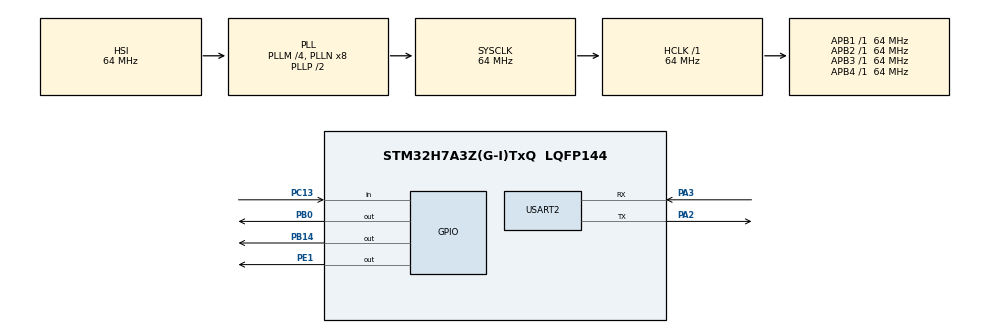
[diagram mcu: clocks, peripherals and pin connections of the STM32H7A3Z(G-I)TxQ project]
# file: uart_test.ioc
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CORTEX_M7.default_mode_Activation=1
Mcu.Family=STM32H7
Mcu.Name=STM32H7A3Z(G-I)TxQ
Mcu.Package=LQFP144
NUCLEO-H7A3ZI-Q.BUTTON=1
NUCLEO-H7A3ZI-Q.Bsp_Common_DEMO=true
NUCLEO-H7A3ZI-Q.LD1=true
NUCLEO-H7A3ZI-Q.LD2=true
NUCLEO-H7A3ZI-Q.LD3=true
NUCLEO-H7A3ZI-Q.VCP=true
NVIC.EXTI15_10_IRQn=true\:0\:0\:false\:false\:true\:false\:true\:true
NVIC.PriorityGroup=NVIC_PRIORITYGROUP_4
PA2.Mode=Asynchronous
PA2.Signal=USART2_TX
PA3.Mode=Asynchronous
PA3.Signal=USART2_RX
PB0.Signal=GPIO_Output
PB14.Signal=GPIO_Output
PC13.Signal=GPIO_Input
PC14-OSC32_IN.GPIO_Label=OSC32_IN
PC14-OSC32_IN.Signal=RCC_OSC32_IN
PC15-OSC32_OUT.GPIO_Label=OSC32_OUT
PC15-OSC32_OUT.Signal=RCC_OSC32_OUT
PD8.Signal=USART3_TX
PD9.Signal=USART3_RX
PE1.Signal=GPIO_Output
PH0-OSC_IN.GPIO_Label=PH0-MCU
PH0-OSC_IN.Signal=RCC_OSC_IN
PH1-OSC_OUT.GPIO_Label=PH1-MCU
PH1-OSC_OUT.Signal=RCC_OSC_OUT
ProjectManager.HeapSize=0x200
ProjectManager.StackSize=0x400
ProjectManager.TargetToolchain=STM32CubeIDE
RCC.ADCFreq_Value=129000000
RCC.APB1Freq_Value=64000000
RCC.APB2Freq_Value=64000000
RCC.APB3Freq_Value=64000000
RCC.APB4Freq_Value=64000000
RCC.CortexFreq_Value=64000000
RCC.DIVM1=4
RCC.DIVM3=1
RCC.DIVN1=8
RCC.DIVN3=24
RCC.DIVQ1=4
RCC.HCLKFreq_Value=64000000
RCC.HSE_VALUE=8000000
RCC.PLLFRACN=0
RCC.PWR_Regulator_Voltage_Scale=PWR_REGULATOR_VOLTAGE_SCALE0
RCC.SYSCLKFreq_VALUE=64000000
RCC.SYSCLKSource=RCC_SYSCLKSOURCE_PLLCLK
RCC.SupplySource=PWR_DIRECT_SMPS_SUPPLY
RCC.USBCLockSelection=RCC_USBCLKSOURCE_HSI48
RCC.USBFreq_Value=48000000
USART2.VirtualMode-Asynchronous=VM_ASYNC
VP_MEMORYMAP_VS_MEMORYMAP.Mode=CurAppReg
VP_NUCLEO-H7A3ZI-Q_VS_BSP_COMMON.Mode=COMMON
board=NUCLEO-H7A3ZI-Q

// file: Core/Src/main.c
/* USER CODE BEGIN Header */
/**
  ******************************************************************************
  * @file           : main.c
  * @brief          : Main program body
  ******************************************************************************
  * @attention
  *
  * Copyright (c) 2026 STMicroelectronics.
  * All rights reserved.
  *
  * This software is licensed under terms that can be found in the LICENSE file
  * in the root directory of this software component.
  * If no LICENSE file comes with this software, it is provided AS-IS.
  *
  ******************************************************************************
  */
/* USER CODE END Header */
#include "main.h"

/* USER CODE BEGIN Includes */
#include <stdio.h>
#include <string.h>
/* USER CODE END Includes */

COM_InitTypeDef BspCOMInit;
__IO uint32_t BspButtonState = BUTTON_RELEASED;

UART_HandleTypeDef huart2;

/* USER CODE BEGIN PV */
uint32_t counter = 0;
char uart_buffer[50];
char rx_buffer[100];
uint8_t rx_byte;
uint16_t rx_index = 0;
uint32_t last_send_time = 0;
/* USER CODE END PV */

void SystemClock_Config(void);
static void MPU_Config(void);
static void MX_GPIO_Init(void);
static void MX_USART2_UART_Init(void);

int main(void)
{

  /* MPU Configuration--------------------------------------------------------*/
  MPU_Config();

  /* MCU Configuration--------------------------------------------------------*/

  /* Reset of all peripherals, Initializes the Flash interface and the Systick. */
  HAL_Init();

  /* Configure the system clock */
  SystemClock_Config();

  /* Initialize all configured peripherals */
  MX_GPIO_Init();
  MX_USART2_UART_Init();

  /* Initialize leds */
  BSP_LED_Init(LED_GREEN);
  BSP_LED_Init(LED_YELLOW);
  BSP_LED_Init(LED_RED);

  /* Initialize USER push-button, will be used to trigger an interrupt each time it's pressed.*/
  BSP_PB_Init(BUTTON_USER, BUTTON_MODE_EXTI);

  /* Initialize COM1 port (115200, 8 bits (7-bit data + 1 stop bit), no parity */
  BspCOMInit.BaudRate   = 115200;
  BspCOMInit.WordLength = COM_WORDLENGTH_8B;
  BspCOMInit.StopBits   = COM_STOPBITS_1;
  BspCOMInit.Parity     = COM_PARITY_NONE;
  BspCOMInit.HwFlowCtl  = COM_HWCONTROL_NONE;
  if (BSP_COM_Init(COM1, &BspCOMInit) != BSP_ERROR_NONE)
  {
    Error_Handler();
  }

  /* USER CODE BEGIN BSP */

  /* -- Sample board code to send message over COM1 port ---- */
  printf("Welcome to STM32 world !\n\r");

  /* -- Sample board code to switch on leds ---- */
  BSP_LED_On(LED_GREEN);
  BSP_LED_On(LED_YELLOW);
  BSP_LED_On(LED_RED);

  /* USER CODE END BSP */

  /* Infinite loop */
  /* USER CODE BEGIN WHILE */
  while (1)
  {
    /* Check for incoming data on UART */
    if (HAL_UART_Receive(&huart2, &rx_byte, 1, 10) == HAL_OK)
    {
      /* Data received - toggle YELLOW LED */
      BSP_LED_Toggle(LED_YELLOW);

      /* Store byte in buffer */
      if (rx_byte == '\n' || rx_index >= 99)
      {
        rx_buffer[rx_index] = '\0';
        printf("[UART RX] %s\r\n", rx_buffer);

        /* Send acknowledgment with complete message */
        char ack_buffer[120];
        sprintf(ack_buffer, "STM32 ACK: %s\r\n", rx_buffer);
        HAL_UART_Transmit(&huart2, (uint8_t*)ack_buffer, strlen(ack_buffer), HAL_MAX_DELAY);

        rx_index = 0;
      }
      else if (rx_byte != '\r')
      {
        rx_buffer[rx_index++] = rx_byte;
      }
    }

    /* Send counter via USART2 every second */
    if (HAL_GetTick() - last_send_time >= 1000)
    {
      sprintf(uart_buffer, "Counter: %lu\r\n", counter);
      HAL_UART_Transmit(&huart2, (uint8_t*)uart_buffer, strlen(uart_buffer), HAL_MAX_DELAY);

      /* Toggle LED to indicate transmission */
      BSP_LED_Toggle(LED_GREEN);

      counter++;
      last_send_time = HAL_GetTick();
    }

    /* -- Sample board code for User push-button in interrupt mode ---- */
    if (BspButtonState == BUTTON_PRESSED)
    {
      /* Update button state */
      BspButtonState = BUTTON_RELEASED;
      /* -- Sample board code to toggle leds ---- */
      BSP_LED_Toggle(LED_GREEN);
      BSP_LED_Toggle(LED_YELLOW);
      BSP_LED_Toggle(LED_RED);

      /* ..... Perform your action ..... */
    }
    /* USER CODE END WHILE */

  }
}

void SystemClock_Config(void)
{
  RCC_OscInitTypeDef RCC_OscInitStruct = {0};
  RCC_ClkInitTypeDef RCC_ClkInitStruct = {0};

  /*AXI clock gating */
  RCC->CKGAENR = 0xE003FFFF;

  /** Supply configuration update enable
  */
  HAL_PWREx_ConfigSupply(PWR_DIRECT_SMPS_SUPPLY);

  /** Configure the main internal regulator output voltage
  */
  __HAL_PWR_VOLTAGESCALING_CONFIG(PWR_REGULATOR_VOLTAGE_SCALE0);

  while(!__HAL_PWR_GET_FLAG(PWR_FLAG_VOSRDY)) {}

  /** Initializes the RCC Oscillators according to the specified parameters
  * in the RCC_OscInitTypeDef structure.
  */
  RCC_OscInitStruct.OscillatorType = RCC_OSCILLATORTYPE_HSI;
  RCC_OscInitStruct.HSIState = RCC_HSI_DIV1;
  RCC_OscInitStruct.HSICalibrationValue = 64;
  RCC_OscInitStruct.PLL.PLLState = RCC_PLL_ON;
  RCC_OscInitStruct.PLL.PLLSource = RCC_PLLSOURCE_HSI;
  RCC_OscInitStruct.PLL.PLLM = 4;
  RCC_OscInitStruct.PLL.PLLN = 8;
  RCC_OscInitStruct.PLL.PLLP = 2;
  RCC_OscInitStruct.PLL.PLLQ = 4;
  RCC_OscInitStruct.PLL.PLLR = 2;
  RCC_OscInitStruct.PLL.PLLRGE = RCC_PLL1VCIRANGE_3;
  RCC_OscInitStruct.PLL.PLLVCOSEL = RCC_PLL1VCOWIDE;
  RCC_OscInitStruct.PLL.PLLFRACN = 0;
  if (HAL_RCC_OscConfig(&RCC_OscInitStruct) != HAL_OK)
  {
    Error_Handler();
  }

  /** Initializes the CPU, AHB and APB buses clocks
  */
  RCC_ClkInitStruct.ClockType = RCC_CLOCKTYPE_HCLK|RCC_CLOCKTYPE_SYSCLK
                              |RCC_CLOCKTYPE_PCLK1|RCC_CLOCKTYPE_PCLK2
                              |RCC_CLOCKTYPE_D3PCLK1|RCC_CLOCKTYPE_D1PCLK1;
  RCC_ClkInitStruct.SYSCLKSource = RCC_SYSCLKSOURCE_PLLCLK;
  RCC_ClkInitStruct.SYSCLKDivider = RCC_SYSCLK_DIV1;
  RCC_ClkInitStruct.AHBCLKDivider = RCC_HCLK_DIV1;
  RCC_ClkInitStruct.APB3CLKDivider = RCC_APB3_DIV1;
  RCC_ClkInitStruct.APB1CLKDivider = RCC_APB1_DIV1;
  RCC_ClkInitStruct.APB2CLKDivider = RCC_APB2_DIV1;
  RCC_ClkInitStruct.APB4CLKDivider = RCC_APB4_DIV1;

  if (HAL_RCC_ClockConfig(&RCC_ClkInitStruct, FLASH_LATENCY_1) != HAL_OK)
  {
    Error_Handler();
  }
}

static void MX_USART2_UART_Init(void)
{

  huart2.Instance = USART2;
  huart2.Init.BaudRate = 115200;
  huart2.Init.WordLength = UART_WORDLENGTH_8B;
  huart2.Init.StopBits = UART_STOPBITS_1;
  huart2.Init.Parity = UART_PARITY_NONE;
  huart2.Init.Mode = UART_MODE_TX_RX;
  huart2.Init.HwFlowCtl = UART_HWCONTROL_NONE;
  huart2.Init.OverSampling = UART_OVERSAMPLING_16;
  huart2.Init.OneBitSampling = UART_ONE_BIT_SAMPLE_DISABLE;
  huart2.Init.ClockPrescaler = UART_PRESCALER_DIV1;
  huart2.AdvancedInit.AdvFeatureInit = UART_ADVFEATURE_NO_INIT;
  if (HAL_UART_Init(&huart2) != HAL_OK)
  {
    Error_Handler();
  }
  if (HAL_UARTEx_SetTxFifoThreshold(&huart2, UART_TXFIFO_THRESHOLD_1_8) != HAL_OK)
  {
    Error_Handler();
  }
  if (HAL_UARTEx_SetRxFifoThreshold(&huart2, UART_RXFIFO_THRESHOLD_1_8) != HAL_OK)
  {
    Error_Handler();
  }
  if (HAL_UARTEx_DisableFifoMode(&huart2) != HAL_OK)
  {
    Error_Handler();
  }

}

static void MX_GPIO_Init(void)
{

  /* GPIO Ports Clock Enable */
  __HAL_RCC_GPIOC_CLK_ENABLE();
  __HAL_RCC_GPIOH_CLK_ENABLE();
  __HAL_RCC_GPIOA_CLK_ENABLE();

}

 /* MPU Configuration */

void MPU_Config(void)
{
  MPU_Region_InitTypeDef MPU_InitStruct = {0};

  /* Disables the MPU */
  HAL_MPU_Disable();

  /** Initializes and configures the Region and the memory to be protected
  */
  MPU_InitStruct.Enable = MPU_REGION_ENABLE;
  MPU_InitStruct.Number = MPU_REGION_NUMBER0;
  MPU_InitStruct.BaseAddress = 0x0;
  MPU_InitStruct.Size = MPU_REGION_SIZE_4GB;
  MPU_InitStruct.SubRegionDisable = 0x87;
  MPU_InitStruct.TypeExtField = MPU_TEX_LEVEL0;
  MPU_InitStruct.AccessPermission = MPU_REGION_NO_ACCESS;
  MPU_InitStruct.DisableExec = MPU_INSTRUCTION_ACCESS_DISABLE;
  MPU_InitStruct.IsShareable = MPU_ACCESS_SHAREABLE;
  MPU_InitStruct.IsCacheable = MPU_ACCESS_NOT_CACHEABLE;
  MPU_InitStruct.IsBufferable = MPU_ACCESS_NOT_BUFFERABLE;

  HAL_MPU_ConfigRegion(&MPU_InitStruct);
  /* Enables the MPU */
  HAL_MPU_Enable(MPU_PRIVILEGED_DEFAULT);

}

/**
  * @brief BSP Push Button callback
  * @param Button Specifies the pressed button
  * @retval None
  */
void BSP_PB_Callback(Button_TypeDef Button)
{
  if (Button == BUTTON_USER)
  {
    BspButtonState = BUTTON_PRESSED;
  }
}

void Error_Handler(void)
{
  __disable_irq();
  while (1)
  {
  }
}
